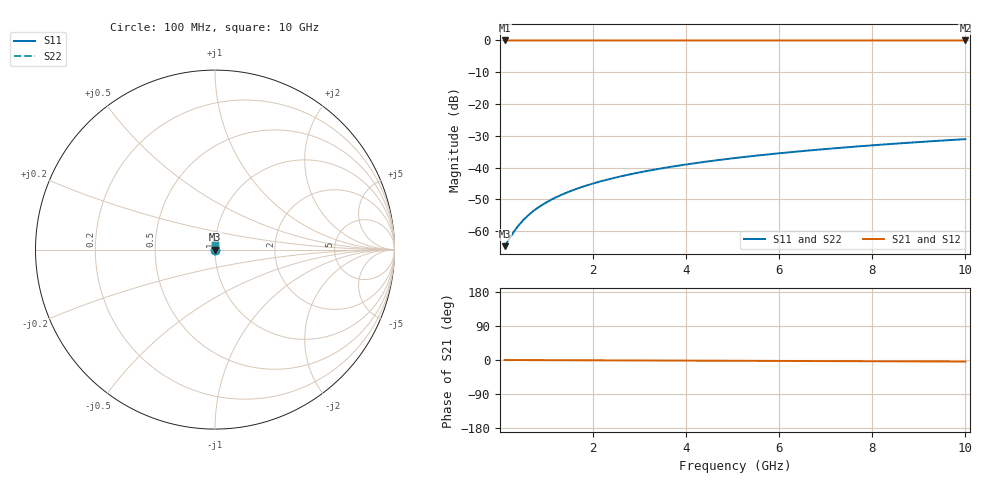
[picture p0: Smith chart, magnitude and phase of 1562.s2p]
# Hz S RI R 50.00
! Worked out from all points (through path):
!   100 points, 100 MHz to 10 GHz, reference 50 ohm
!   highest |S21| = 0.00 dB at 100 MHz (marker M1); lowest = 0.0 dB at 10 GHz (marker M2)
!   lowest |S11| = -64.7 dB at 100 MHz (marker M3), VSWR 1.00, Z = 50.1 + j0.0279 ohm
!   |S11| at or under -10 dB: start of sweep to end of sweep
!   |S22| runs from -64.7 to -31.1 dB; largest |S21 - S12| = 0
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1e8  0.000509 0.000279  0.9995 -0.000715  0.9995 -0.000715  0.000509 0.000279
3e8  0.000516 0.000837  0.9995 -0.00214  0.9995 -0.00214  0.000516 0.000837
4e8  0.000519 0.00112  0.9995 -0.00286  0.9995 -0.00286  0.000519 0.00112
5e8  0.000523 0.00139  0.9995 -0.00357  0.9995 -0.00357  0.000523 0.00139
6e8  0.000526 0.00167  0.9995 -0.00429  0.9995 -0.00429  0.000526 0.00167
7e8  0.00053 0.00195  0.9995 -0.005  0.9995 -0.005  0.00053 0.00195
8e8  0.000534 0.00223  0.9995 -0.00572  0.9995 -0.00572  0.000534 0.00223
9e8  0.000538 0.00251  0.9994 -0.00643  0.9994 -0.00643  0.000538 0.00251
1e9  0.000543 0.00279  0.9994 -0.00715  0.9994 -0.00715  0.000543 0.00279
1.2e9  0.000554 0.00335  0.9994 -0.00858  0.9994 -0.00858  0.000554 0.00335
1.5e9  0.000572 0.00418  0.9994 -0.0107  0.9994 -0.0107  0.000572 0.00418
1.8e9  0.000594 0.00502  0.9994 -0.0129  0.9994 -0.0129  0.000594 0.00502
2.1e9  0.000619 0.00586  0.9993 -0.015  0.9993 -0.015  0.000619 0.00586
2.5e9  0.000657 0.00697  0.9993 -0.0179  0.9993 -0.0179  0.000657 0.00697
2.9e9  0.000702 0.00809  0.9992 -0.0207  0.9992 -0.0207  0.000702 0.00809
3.4e9  0.000768 0.00948  0.9991 -0.0243  0.9991 -0.0243  0.000768 0.00948
4.2e9  0.000892 0.0117  0.9989 -0.03  0.9989 -0.03  0.000892 0.0117
5.1e9  0.00106 0.0142  0.9987 -0.0365  0.9987 -0.0365  0.00106 0.0142
5.9e9  0.00124 0.0165  0.9984 -0.0422  0.9984 -0.0422  0.00124 0.0165
6.7e9  0.00145 0.0187  0.9981 -0.048  0.9981 -0.048  0.00145 0.0187
8.4e9  0.00197 0.0234  0.9973 -0.0602  0.9973 -0.0602  0.00197 0.0234
1e10  0.00257 0.0279  0.9964 -0.0717  0.9964 -0.0717  0.00257 0.0279
